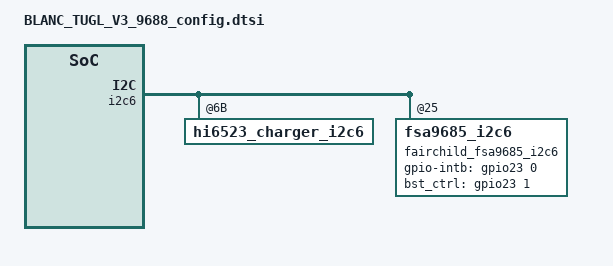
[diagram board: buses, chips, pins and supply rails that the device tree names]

/**
 * Copyright (C) 2014 Hisilicon Ltd.
 *
 *  This program is free software; you can redistribute it and/or modify
 *  it under the terms of the GNU General Public License version 2 as
 *  publishhed by the Free Software Foundation.
 */

/include/ "BLANC_TUGL_V1_config.dtsi"

/ {
	hisi,boardid = <6 4 5 4>;
	hisi,boardname = "BLANC_TUGL_V3_9688";
	hisi,product_id = <0x39010C00>;
	hisi,modem_id = <0x39010C00>;
	direct_charger: direct_charger{
		scp_work_on_charger = <0>;
		status = "ok";
	};
	amba {
		i2c6: i2c@FFD6A000 {
			hi6523_charger_i2c6: hi6523_charger_i2c6@6B{
				status = "ok";
				fcp_support = <0>;
				scp_support = <0>;
				scp_need_extra_power = <0>;
				bst_ctrl_use_common_gpio = <0>;
			};
			fairchild_fsa9685_i2c6: fsa9685_i2c6@25{
				fairchild_fsa9685,gpio-intb = <&gpio23 0 0>;
				bst_ctrl = <&gpio23 1 0>;
				status = "ok";
			};
		};
	};
	devcheck: devcheck {
		usb_switch = <1>;
		status = "ok";
	};
	hisi_usb@ff200000 {
		set_hi_impedance = <0x1>;
	};
	sensorhub{
		als_sensor:light{
			als1{
				als_phone_version = <12>;
			};
			als2{
				als_phone_version = <12>;
			};
		};
              rpc_sensor:rpc{
			rpc{
				compatible = "huawei,rpc";
				file_id = <0x18>;
				sensor_list_info_id = <24>;
				sensor_type = "rpc";
				sensorlist_name = "rpc";
				mask = <0xFFFF 0x630 0x630 0x630 0x200 0xFFFF 0xFFFF 0xFFFF
					0xFFFF 0xFFFF 0xFFFF 0xFFFF 0xFFFF 0xFFFF 0xFFFF 0xFFFF
					0xFFFF 0xFFFF 0xFFFF 0xFFFF 0xFFFF 0xFFFF 0xFFFF 0xFFFF
					0xFFFF 0xFFFF 0xFFFF 0xFFFF 0xFFFF 0xFFFF 0xFFFF 0xFFFF>;
				table = <0xFFFF 0x210 0x220 0x200 0x0 0xFFFF 0xFFFF 0xFFFF
					 0xFFFF 0xFFFF 0xFFFF 0xFFFF 0xFFFF 0xFFFF 0xFFFF 0xFFFF
					 0xFFFF 0xFFFF 0xFFFF 0xFFFF 0xFFFF 0xFFFF 0xFFFF 0xFFFF
					 0xFFFF 0xFFFF 0xFFFF 0xFFFF 0xFFFF 0xFFFF 0xFFFF 0xFFFF>;
				default_value = <0x1D>;
				status = "ok";
			};
	        }; 
	};
};
